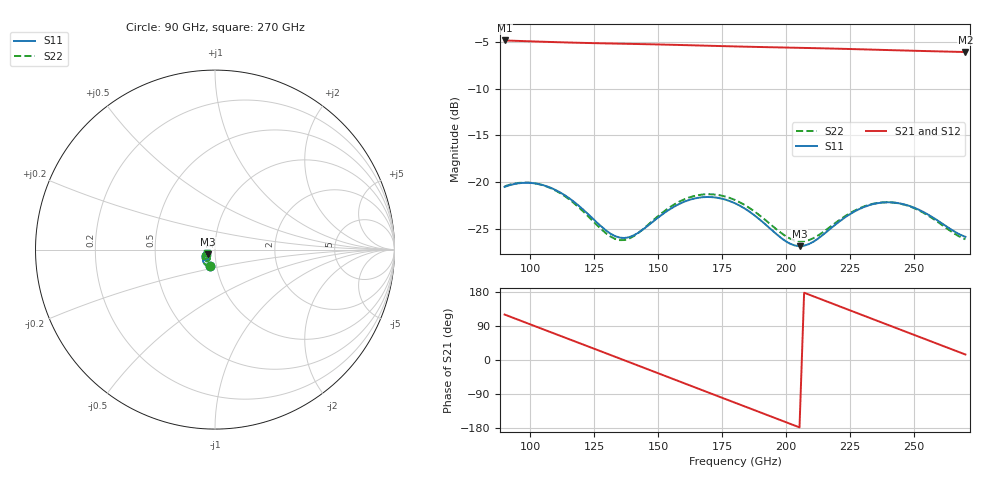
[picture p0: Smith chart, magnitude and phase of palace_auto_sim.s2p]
#  GHZ S DB R 50
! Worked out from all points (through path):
!   101 points, 90 GHz to 270 GHz, reference 50 ohm
!   highest |S21| = -4.85 dB at 90 GHz (marker M1); lowest = -6.1 dB at 270 GHz (marker M2)
!   group delay of S21, straight-line fit = 7.19 ps
!   lowest |S11| = -26.8 dB at 205.2 GHz (marker M3), VSWR 1.10, Z = 46.3 - j2.38 ohm
!   |S11| at or under -10 dB: start of sweep to end of sweep
!   |S22| runs from -26.3 to -20.0 dB; largest |S21 - S12| = 9.5e-14
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90  -20.49 -108.1  -4.85 120.0  -4.85 120.0  -20.43 -106.9
97.2  -20.06 -118.6  -4.92 101.3  -4.92 101.3  -20.03 -117.6
104.4  -20.26 -129.5  -4.99 82.7  -4.99 82.7  -20.27 -128.7
111.6  -21.07 -139.5  -5.05 64.2  -5.05 64.2  -21.14 -138.7
120.6  -22.89 -147.4  -5.11 41.0  -5.11 41.0  -23.08 -146.4
127.8  -24.72 -146.6  -5.16 22.4  -5.16 22.4  -25.02 -144.7
135  -25.91 -137.1  -5.20 3.8  -5.20 3.8  -26.18 -133.5
142.2  -25.39 -125.9  -5.24 -14.8  -5.24 -14.8  -25.42 -121.5
151.2  -23.51 -122.8  -5.29 -38.1  -5.29 -38.1  -23.33 -118.9
165.6  -21.65 -135.9  -5.39 -75.5  -5.39 -75.5  -21.37 -132.9
172.8  -21.64 -144.9  -5.44 -94.1  -5.44 -94.1  -21.33 -142.2
180  -22.24 -153.4  -5.49 -112.7  -5.49 -112.7  -21.89 -150.8
192.6  -24.67 -160.4  -5.57 -145.2  -5.57 -145.2  -24.20 -158.5
205.2  -26.82 -145.7  -5.64 -177.8  -5.64 -177.8  -26.31 -145.9
210.6  -26.35 -136.5  -5.67 168.2  -5.67 168.2  -25.97 -137.4
217.8  -24.83 -131.0  -5.72 149.5  -5.72 149.5  -24.63 -132.0
226.8  -23.10 -134.2  -5.78 126.2  -5.78 126.2  -23.01 -134.9
234  -22.33 -140.9  -5.84 107.5  -5.84 107.5  -22.29 -141.3
241.2  -22.15 -148.6  -5.89 88.9  -5.89 88.9  -22.15 -148.9
253.8  -23.20 -159.9  -5.98 56.3  -5.98 56.3  -23.29 -160.1
262.8  -24.75 -161.2  -6.04 33.1  -6.04 33.1  -24.93 -161.3
270  -25.82 -155.3  -6.09 14.5  -6.09 14.5  -26.09 -154.8
